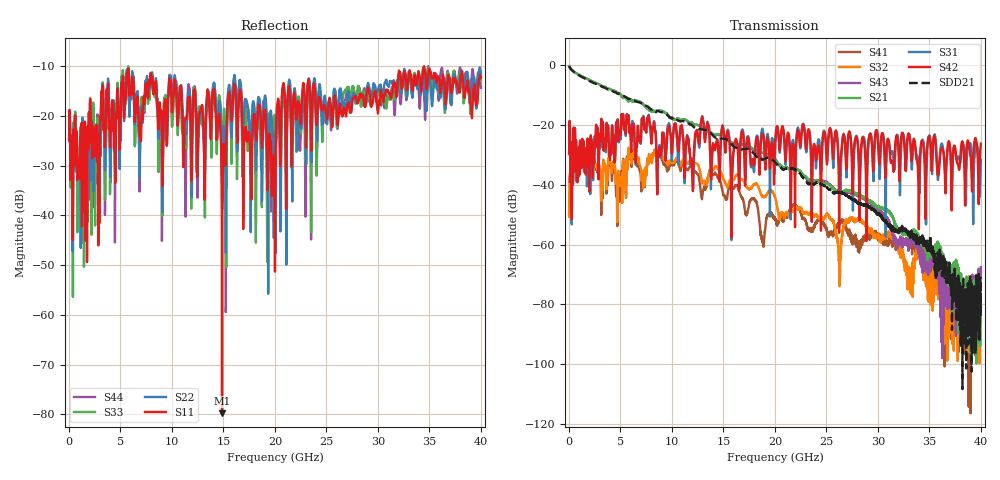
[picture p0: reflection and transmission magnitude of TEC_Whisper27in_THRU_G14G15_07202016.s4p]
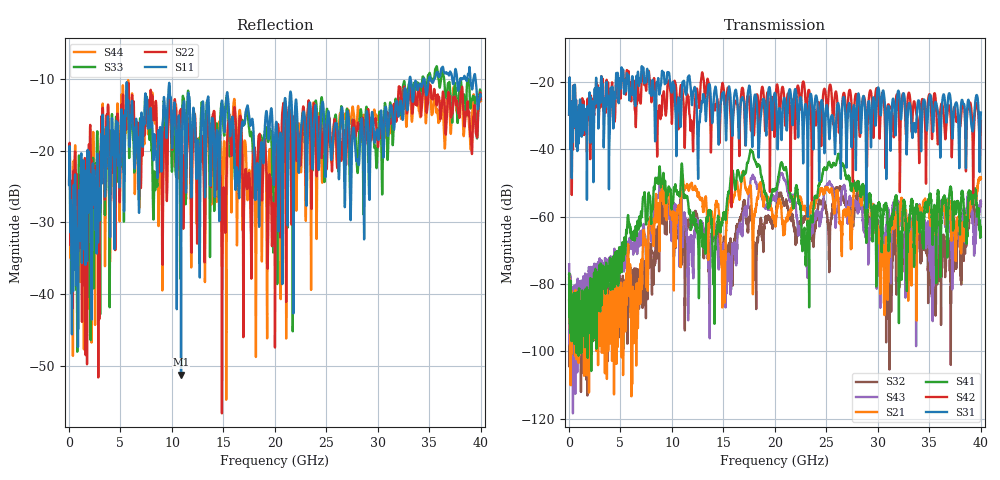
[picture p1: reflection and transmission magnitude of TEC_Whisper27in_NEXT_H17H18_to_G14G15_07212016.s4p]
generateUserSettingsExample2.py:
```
from userSettingsObjects import simulationSettings, valueWithLimits
from math import sqrt, pow

# 1+D example

def generateUserSettings() -> simulationSettings:
    simSettings = simulationSettings()

    ########################################
    # General settings
    ########################################
    # Frequency
    simSettings.general.symbolRate.value = 25e9 # symbol rate [S/s] (or 2x frequency [Hz])
        
    # Signaling mode ('standard','1+D','1+0.5D','clock')
    simSettings.general.signalingMode = '1+D'

    # Modulation (M-PAM)
    simSettings.general.modulation.value = 4

    # Resolution
    simSettings.general.samplesPerSymb.value = 100 # horizontal resolution
    simSettings.general.yAxisLength.value = 201    # vertical resolution (must be odd)
    
    # General display
    simSettings.general.numbSymb.value = 2    # number of symbols to plot
    simSettings.general.contLevels.value = 10 # number of contour levels
        
    # Target BER
    simSettings.general.targetBER.value = 1e-6 # used for measurement purposes

    # Display responses
    simSettings.general.plotting.channelResponse = True
    simSettings.general.plotting.CTLEResponse    = True
    simSettings.general.plotting.pulseResponse   = True
    
    # Display inteferences
    simSettings.general.plotting.jitterSource     = False
    simSettings.general.plotting.noiseSource      = False
    simSettings.general.plotting.distortionSource = False
    
    # Display probability distributions
    simSettings.general.plotting.ISI              = False # slows simulation
    simSettings.general.plotting.PDFInitial       = False
    simSettings.general.plotting.PDFCrossTalk     = False
    simSettings.general.plotting.PDFDistorted     = False
    simSettings.general.plotting.PDFJitter        = False
    simSettings.general.plotting.PDFNoise         = False
    simSettings.general.plotting.PDFFinal         = True
    
    # Display bit-error rate distributions
    simSettings.general.plotting.BER  = False            # plot BER contour over BER
    simSettings.general.plotting.BER2 = True             # plot BER contour over PDF
    
    # Display measurement results
    simSettings.general.plotting.results = True
    
    ########################################
    # Adaption settings
    ########################################
    # Run adaption algorithm
    simSettings.adaption.adapt = False
    
    # Adaption complexity
    simSettings.adaption.totalParents.value = 2
    simSettings.adaption.childrenPerParent.value = 10
    simSettings.adaption.totalMutations.value = 2
    simSettings.adaption.mode1Generations.value = 20 # coarse adjustment
    simSettings.adaption.mode2Generations.value = 55 # fine adjustment

    # Define knobs to optimize
    simSettings.adaption.knobs = ['transmitter.EQ.taps.pre1',\
        'transmitter.EQ.taps.post1',\
        'receiver.preAmp.gain',\
        'receiver.CTLE.zeroFreq',\
        'receiver.CTLE.pole1Freq',\
        'receiver.FFE.taps.pre2',\
        'receiver.FFE.taps.pre1',\
        'receiver.FFE.taps.main',\
        'receiver.FFE.taps.post1',\
        'receiver.FFE.taps.post2',\
        'receiver.DFE.taps.post1',\
        'receiver.DFE.taps.post2']
        
    ########################################
    # Transmitter settings 
    ########################################    
    # Maximum amplitude [V]
    simSettings.transmitter.signalAmplitude.value = 1.0
    
    # Add source impedance (drop amplitude by half)
    simSettings.transmitter.includeSourceImpedance = False
    
    # Rise/fall time [s]
    simSettings.transmitter.tRise.value = 1e-12
    
    # TX bandwidth [Hz]
    simSettings.transmitter.TXBandwidth.value = 30e9
    
    # Impulse cursor length
    simSettings.transmitter.preCursorCount.value = 2 
    simSettings.transmitter.postCursorCount.value = 4

    # Pre-emphasis
    simSettings.transmitter.EQ.addEqualization = True
    simSettings.transmitter.EQ.taps.pre3  = valueWithLimits(-0.00)
    simSettings.transmitter.EQ.taps.pre2  = valueWithLimits(-0.00)
    simSettings.transmitter.EQ.taps.pre1  = valueWithLimits( 0.15)
    simSettings.transmitter.EQ.taps.main  = valueWithLimits( 1.00) # calculated automatically
    simSettings.transmitter.EQ.taps.post1 = valueWithLimits(-0.15)
    simSettings.transmitter.EQ.taps.post2 = valueWithLimits(-0.00)
    simSettings.transmitter.EQ.taps.post3 = valueWithLimits(-0.00)
    simSettings.transmitter.EQ.taps.post4 = valueWithLimits(-0.00)
    simSettings.transmitter.EQ.taps.post5 = valueWithLimits(-0.00)

    # Jitter
    simSettings.transmitter.jitter.addJitter = False
    simSettings.transmitter.jitter.stdDeviation.value = 0 # TX random jitter standard diviation [UI]
    simSettings.transmitter.jitter.amplitude.value = 0    # TX deterministic jitter amplitude [UI]
    simSettings.transmitter.jitter.DCD.value = 0          # TX duty-cycle distortion jitter [UI]
    
    # Noise
    simSettings.transmitter.noise.addNoise = False
    simSettings.transmitter.noise.stdDeviation.value = 0   # TX random noise standard diviation [V]
    simSettings.transmitter.noise.amplitude.value = 0      # TX deterministic noise amplitude [V]
    simSettings.transmitter.noise.frequency.value = 1e6    # TX deterministic noise frequency [Hz]

    # Distortion
    simSettings.transmitter.distortion.addDistortion = False
    simSettings.transmitter.distortion.fileName = 'distortionTX.mat'

    ########################################
    # Channel settings
    ########################################
    # Apply channel/cross-talk
    simSettings.channel.addChannel = True
    simSettings.channel.addCrossTalk = True
    
    # Add notch (must update transfer function)
    simSettings.channel.addNotch = False
    simSettings.channel.notchFreq.value = 20e9      # frequency of notch
    simSettings.channel.notchAttenuation.value = 20 # attenuation at notch [dB]
    
    # Add pulse response (convolve all channels with additional transfer function, must update transfer function)
    simSettings.channel.modelCircuitTF = False
    simSettings.channel.modelCircuitTFName = 'FrontendTransferFunction.mat'
    
    # Override channel pulse response (must have same over-sampling frequency)
    simSettings.channel.overrideResponse = False
    simSettings.channel.overrideFileName = 'FrontEndPulseResponse.mat'   
    
    # Approximate cross-talk to speed up simulation
    simSettings.channel.approximate = True
    
    # Make cross-talk channels asynchronous
    simSettings.channel.makeAsynchronous = True

    # Channel file names (ensure channel data has same frequency points)
    simSettings.channel.fileNames.thru  = 'TEC_Whisper27in_THRU_G14G15_07202016.s4p'
    simSettings.channel.fileNames.next1 = 'TEC_Whisper27in_NEXT_H17H18_to_G14G15_07212016.s4p'
    simSettings.channel.fileNames.next2 = 'TEC_Whisper27in_NEXT_H14H15_to_G14G15_07212016.s4p'
    simSettings.channel.fileNames.next3 = 'TEC_Whisper27in_NEXT_H11H12_to_G14G15_07212016.s4p'
    simSettings.channel.fileNames.next4 = 'TEC_Whisper27in_NEXT_G17G18_to_G14G15_07212016.s4p'
    simSettings.channel.fileNames.next5 = 'TEC_Whisper27in_NEXT_G11G12_to_G14G15_07212016.s4p'
    simSettings.channel.fileNames.next6 = 'TEC_Whisper27in_NEXT_F17F18_to_G14G15_07212016.s4p'
    simSettings.channel.fileNames.next7 = 'TEC_Whisper27in_NEXT_F14F15_to_G14G15_07212016.s4p'
    simSettings.channel.fileNames.next8 = 'TEC_Whisper27in_NEXT_F11F12_to_G14G15_07212016.s4p'
    simSettings.channel.fileNames.fext1 = 'TEC_Whisper27in_FEXT_H17H18_to_G14G15_07212016.s4p'
    simSettings.channel.fileNames.fext2 = 'TEC_Whisper27in_FEXT_H14H15_to_G14G15_07212016.s4p'
    simSettings.channel.fileNames.fext3 = 'TEC_Whisper27in_FEXT_H11H12_to_G14G15_07212016.s4p'
    simSettings.channel.fileNames.fext4 = 'TEC_Whisper27in_FEXT_G17G18_to_G14G15_07212016.s4p'
    simSettings.channel.fileNames.fext5 = 'TEC_Whisper27in_FEXT_G11G12_to_G14G15_07212016.s4p'
    simSettings.channel.fileNames.fext6 = 'TEC_Whisper27in_FEXT_F17F18_to_G14G15_07212016.s4p'
    simSettings.channel.fileNames.fext7 = 'TEC_Whisper27in_FEXT_F14F15_to_G14G15_07212016.s4p'
    simSettings.channel.fileNames.fext8 = 'TEC_Whisper27in_FEXT_F11F12_to_G14G15_07212016.s4p'

    # Noise
    simSettings.channel.noise.addNoise = True
    simSettings.channel.noise.noiseDensity.value = 5.2e-17 # channel noise density [V^2/Hz]
    
    ########################################
    # Receiver settings
    ########################################
    # Maximum amplitude [V]
    simSettings.receiver.signalAmplitude.value = 0.2
    
    # PreAmp
    simSettings.receiver.preAmp.addGain = True
    simSettings.receiver.preAmp.gain.value = 0.4

    # CTLE
    simSettings.receiver.CTLE.addEqualization = True    
    simSettings.receiver.CTLE.zeroFreq.value  = 3.5e9  # frequency of first zero [Hz]
    simSettings.receiver.CTLE.zeroNumb.value  = 1      # number of zeros
    simSettings.receiver.CTLE.pole1Freq.value = 24.0e9 # frequency of first pole [Hz]
    simSettings.receiver.CTLE.pole1Numb.value = 1      # number of first poles
    simSettings.receiver.CTLE.pole2Freq.value = 30.0e9 # frequency of additional poles [Hz]
    simSettings.receiver.CTLE.pole2Numb.value = 3      # number of additional poles
    
    # FFE
    simSettings.receiver.FFE.addEqualization = True
    simSettings.receiver.FFE.taps.pre3  = valueWithLimits(-0.00)
    simSettings.receiver.FFE.taps.pre2  = valueWithLimits(-0.00)
    simSettings.receiver.FFE.taps.pre1  = valueWithLimits(-0.05)
    simSettings.receiver.FFE.taps.main  = valueWithLimits( 1.00)
    simSettings.receiver.FFE.taps.post1 = valueWithLimits( 0.25)
    simSettings.receiver.FFE.taps.post2 = valueWithLimits( 0.15)
    simSettings.receiver.FFE.taps.post3 = valueWithLimits(-0.00)
    simSettings.receiver.FFE.taps.post4 = valueWithLimits(-0.00)
    simSettings.receiver.FFE.taps.post5 = valueWithLimits(-0.00)
    
    # DFE
    simSettings.receiver.DFE.addEqualization = True
    simSettings.receiver.DFE.taps.post1 = valueWithLimits(-0.00)
    simSettings.receiver.DFE.taps.post2 = valueWithLimits(-0.20)
    simSettings.receiver.DFE.taps.post3 = valueWithLimits(-0.10)
    simSettings.receiver.DFE.taps.post4 = valueWithLimits(-0.05)
    simSettings.receiver.DFE.taps.post5 = valueWithLimits(-0.00)
    
    # Jitter
    simSettings.receiver.jitter.addJitter = False
    simSettings.receiver.jitter.stdDeviation.value = 0 # CDR random jitter standard diviation [UI]
    simSettings.receiver.jitter.amplitude.value = 0    # CDR deterministic jitter amplitude [UI]
    simSettings.receiver.jitter.DCD.value = 0          # CDR duty-cycle distortion jitter [UI]
    
    # Noise
    simSettings.receiver.noise.addNoise = False
    simSettings.receiver.noise.stdDeviation.value = 0 # RX random noise standard diviation [V]
    simSettings.receiver.noise.amplitude.value = 0    # RX deterministic noise amplitude [V]
    simSettings.receiver.noise.frequency.value = 1e6  # RX deterministic noise frequency [Hz]
    
    # Distortion
    simSettings.receiver.distortion.addDistortion = False
    simSettings.receiver.distortion.fileName = 'distortionRX.mat'

    return simSettings
```
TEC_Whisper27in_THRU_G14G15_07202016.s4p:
! TE Connectivity
! G14G15_THRU
!! PART DESCRIPTION: Whisper 27in Megtron 6 HVLP-HVLP-HVLP Channel Model, bulkhead 2.92mm test points
!! MODEL DESCRIPTION: System 4-port S-parameter
!! MODEL STATUS: Measured
!! MODEL GEOMETRY: Channel Model
!! MODEL FREQUENCY RANGE: DC to 40 GHz in 10 MHz frequency steps
!! MODEL EDGE RATE LIMITATION: 12.5 ps (Using conservative 0.5/Fmax rule of thumb)
!! TIME-DOMAIN TRANSFORM CAUTIONS:
!! 1.) Do not simulate transient edge rates faster than the number listed above.  Edge
!!  rates faster than this number contain significant spectral content at frequencies
!!  above the model's highest frequency.
!! 2.) Even when simulating edge rates that are slower than the number listed above, be
!!  aware that the best time resolution possible with a direct iFFT is (1 / 2Fmax).
!!  As a result, time resolution is typically not adequate for most time-domain
!!  simulations unless tricks such as frequency-domain zero-padding and windowing are
!!  used to minimize leakage and aliasing.
!! 3.) Because the model has a uniform frequency step, a direct iFFT will result in an
!!  impulse that that has a time length given by either (1 / Fstep) or (1 / 2Fstep),
!!  depending on the transform being used.  Care has been taken in selecting the
!!  frequency step to ensure a settled impulse response for the model.  Therefore,
!!  convolution with the model's impulse response should present no issues.  However,
!!  if directly concatenating s-parameter models in the frequency domain a user must
!!  either interpolate necessary interim frequencies or complete impulse response
!!  zero-padding.  Impulse response zero-padding is more difficult, but more accurate.
!! PORT DEFINITIONS:
!! Port  1  ----->  Side A  G14  Side B  <-----  Port  2
!! Port  3  ----->  Side A  G15  Side B  <-----  Port  4
! Point-to-Point link (differential)  !
! Connectors:  !
!  1: STRADA Whisper 3.9mm  !
! Materials:  !
!  Backplane: Megtron-6 HVLP  !
!  Daughtercard: Megtron-6 HVLP  !
! Stack-up:  !
!  Backplane: 20 layers, 190mil thick  !
!  Daughtercard: 14 layers, 110mil thick  !
! Trace Length:  !
!  Backplane: 17in  !
!  Daughtercards: 5in  !
! Trace Width:  !
!  Backplane: 5.75-6.25-5.75 mils  !
!  Daughtercards: 6-9-6 mils  !
! Geometry:  !
!  Backplane: Stripline  !
!  Daughtercards: Stripline  !
! Layer Connections:  !
!  Backplane: Layer 16, counterbored(1-6mil stub)  !
!  Daughtercard: Layer 9, counterbored(1-6mil stub) !
! Freq. Range: 0 GHz - 40 GHz  !
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# hz S ma R 50
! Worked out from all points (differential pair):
!   4000 points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, 10 MHz to 40 GHz, reference 50 ohm
!   strongest paths, dB at 10 MHz, 10.01 GHz, 20.01 GHz, 30.01 GHz, 40 GHz:
!     S42: -29.7, -28.8, -26.8, -26.1, -26.3
!     S31: -29.6, -30.9, -29.3, -24.5, -31.6
!     S21: -0.4, -17.6, -31.1, -47.5, -81.8
!     S43: -0.4, -17.4, -31.6, -48.5, -67.5
!     S32: -50.6, -32.4, -44.3, -57.2, -85.9
!     S41: -50.0, -33.4, -51.2, -57.9, -80.0
!   taken as a pair (ports 1,3 in; 2,4 out), SDD21 dB: -0.3, -17.7, -32.4, -50.0, -70.9
!   lowest |S11| = -79.8 dB at 14.86 GHz (marker M1), VSWR 1.00, Z = 50 - j0.00182 ohm
!   |S11| at or under -10 dB: start of sweep to end of sweep
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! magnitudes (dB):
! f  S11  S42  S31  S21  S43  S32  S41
! 10 MHz  -24.7  -29.7  -29.6  -0.4  -0.4  -50.6  -50.0
! 14.86 GHz  -79.8  -21.1  -20.9  -23.2  -23.4  -36.7  -41.4
! 40 GHz  -12.3  -26.3  -31.6  -81.8  -67.5  -85.9  -80.0
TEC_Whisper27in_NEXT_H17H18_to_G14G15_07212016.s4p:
! TE Connectivity
! H17H18-G14G15_NEXT
!! PART DESCRIPTION: Whisper 27in Megtron 6 HVLP-HVLP-HVLP Channel Model, bulkhead 2.92mm test points
!! MODEL DESCRIPTION: System 4-port S-parameter
!! MODEL STATUS: Measured
!! MODEL GEOMETRY: Channel Model
!! MODEL FREQUENCY RANGE: DC to 40 GHz in 10 MHz frequency steps
!! MODEL EDGE RATE LIMITATION: 12.5 ps (Using conservative 0.5/Fmax rule of thumb)
!! TIME-DOMAIN TRANSFORM CAUTIONS:
!! 1.) Do not simulate transient edge rates faster than the number listed above.  Edge
!!  rates faster than this number contain significant spectral content at frequencies
!!  above the model's highest frequency.
!! 2.) Even when simulating edge rates that are slower than the number listed above, be
!!  aware that the best time resolution possible with a direct iFFT is (1 / 2Fmax).
!!  As a result, time resolution is typically not adequate for most time-domain
!!  simulations unless tricks such as frequency-domain zero-padding and windowing are
!!  used to minimize leakage and aliasing.
!! 3.) Because the model has a uniform frequency step, a direct iFFT will result in an
!!  impulse that that has a time length given by either (1 / Fstep) or (1 / 2Fstep),
!!  depending on the transform being used.  Care has been taken in selecting the
!!  frequency step to ensure a settled impulse response for the model.  Therefore,
!!  convolution with the model's impulse response should present no issues.  However,
!!  if directly concatenating s-parameter models in the frequency domain a user must
!!  either interpolate necessary interim frequencies or complete impulse response
!!  zero-padding.  Impulse response zero-padding is more difficult, but more accurate.
!! PORT DEFINITIONS:
!! Port  1  ----->  Side A  H17  G14  Side B  <-----  Port  2
!! Port  3  ----->  Side A  H18  G15  Side B  <-----  Port  4
! Point-to-Point link (differential)  !
! Connectors:  !
!  1: STRADA Whisper 3.9mm  !
! Materials:  !
!  Backplane: Megtron-6 HVLP  !
!  Daughtercard: Megtron-6 HVLP  !
! Stack-up:  !
!  Backplane: 20 layers, 190mil thick  !
!  Daughtercard: 14 layers, 110mil thick  !
! Trace Length:  !
!  Backplane: 17in  !
!  Daughtercards: 5in  !
! Trace Width:  !
!  Backplane: 5.75-6.25-5.75 mils  !
!  Daughtercards: 6-9-6 mils  !
! Geometry:  !
!  Backplane: Stripline  !
!  Daughtercards: Stripline  !
! Layer Connections:  !
!  Backplane: Layer 16, counterbored(1-6mil stub)  !
!  Daughtercard: Layer 9, counterbored(1-6mil stub) !
! Freq. Range: 0 GHz - 40 GHz  !
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# hz S ma R 50
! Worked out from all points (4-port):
!   4000 points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, 10 MHz to 40 GHz, reference 50 ohm
!   strongest paths, dB at 10 MHz, 10.01 GHz, 20.01 GHz, 30.01 GHz, 40 GHz:
!     S31: -29.6, -22.1, -23.3, -21.6, -29.0
!     S42: -29.7, -31.2, -29.2, -24.5, -31.5
!     S41: -77.0, -55.0, -51.8, -56.4, -66.0
!     S21: -84.8, -61.0, -62.0, -64.8, -48.5
!     S43: -74.1, -61.9, -54.5, -65.6, -55.3
!     S32: -78.2, -61.1, -61.2, -65.3, -56.3
!   lowest |S11| = -51.3 dB at 10.88 GHz (marker M1), VSWR 1.01, Z = 50.3 + j0.0702 ohm
!   |S11| at or under -10 dB: start of sweep to 33.07 GHz; 33.19 GHz to 34.42 GHz (1.236 GHz wide, 3.66 % of centre); 39.48 GHz to end of sweep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
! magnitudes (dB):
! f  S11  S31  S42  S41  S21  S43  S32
! 10 MHz  -24.8  -29.6  -29.7  -77.0  -84.8  -74.1  -78.2
! 10.88 GHz  -51.3  -28.8  -21.0  -47.6  -60.6  -54.5  -56.6
! 40 GHz  -12.4  -29.0  -31.5  -66.0  -48.5  -55.3  -56.3
